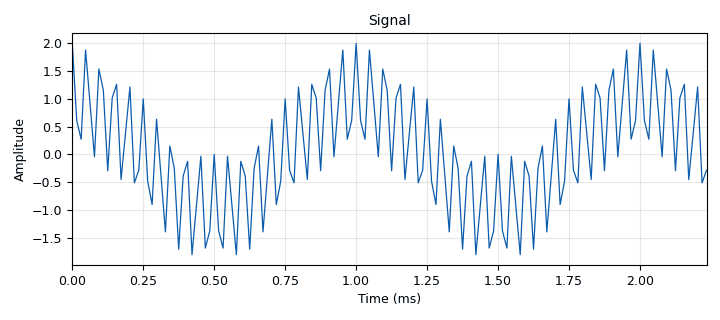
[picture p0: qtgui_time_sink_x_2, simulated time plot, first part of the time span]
options:
  parameters:
    author: Ben Cometto
    generate_options: qt_gui
    id: am_testing
    output_language: python
    title: AM Testing
  states: {}

blocks:
- name: samp_rate
  id: variable
  parameters:
    value: '64000'
  states: {}
- name: am_demod_0
  id: am_demod
  parameters:
    fc: '30000'
    gain: '1'
    samp_rate: samp_rate
  states: {}
- name: am_mod_0
  id: am_mod
  parameters:
    ac: '6'
    am: '1'
    fc: '30000'
    samp_rate: samp_rate
  states: {}
- name: analog_sig_source_x_0
  id: analog_sig_source_x
  parameters:
    amp: '1'
    freq: '1000'
    offset: '0'
    phase: '0'
    samp_rate: samp_rate
    type: float
    waveform: analog.GR_COS_WAVE
  states: {}
- name: analog_sig_source_x_1
  id: analog_sig_source_x
  parameters:
    amp: '1'
    freq: '20000'
    offset: '0'
    phase: '0'
    samp_rate: samp_rate
    type: float
    waveform: analog.GR_COS_WAVE
  states: {}
- name: blocks_add_xx_0
  id: blocks_add_xx
  parameters:
    type: float
  states: {}
- name: qtgui_time_sink_x_0
  id: qtgui_time_sink_x
  parameters:
    autoscale: 'True'
    name: '"Demod"'
    size: '1024'
    srate: samp_rate
    type: float
  states: {}
- name: qtgui_time_sink_x_1
  id: qtgui_time_sink_x
  parameters:
    autoscale: 'True'
    name: '"Mod"'
    size: '1024'
    srate: samp_rate
    type: float
  states: {}
- name: qtgui_time_sink_x_2
  id: qtgui_time_sink_x
  parameters:
    autoscale: 'True'
    name: '"Signal"'
    size: '1024'
    srate: samp_rate
    type: float
  states: {}

connections:
- [am_demod_0, '0', qtgui_time_sink_x_0, '0']
- [am_mod_0, '0', am_demod_0, '0']
- [am_mod_0, '0', qtgui_time_sink_x_1, '0']
- [analog_sig_source_x_0, '0', blocks_add_xx_0, '0']
- [analog_sig_source_x_1, '0', blocks_add_xx_0, '1']
- [blocks_add_xx_0, '0', am_mod_0, '0']
- [blocks_add_xx_0, '0', qtgui_time_sink_x_2, '0']

metadata:
  file_format: 1
  grc_version: 3.10.10.0
